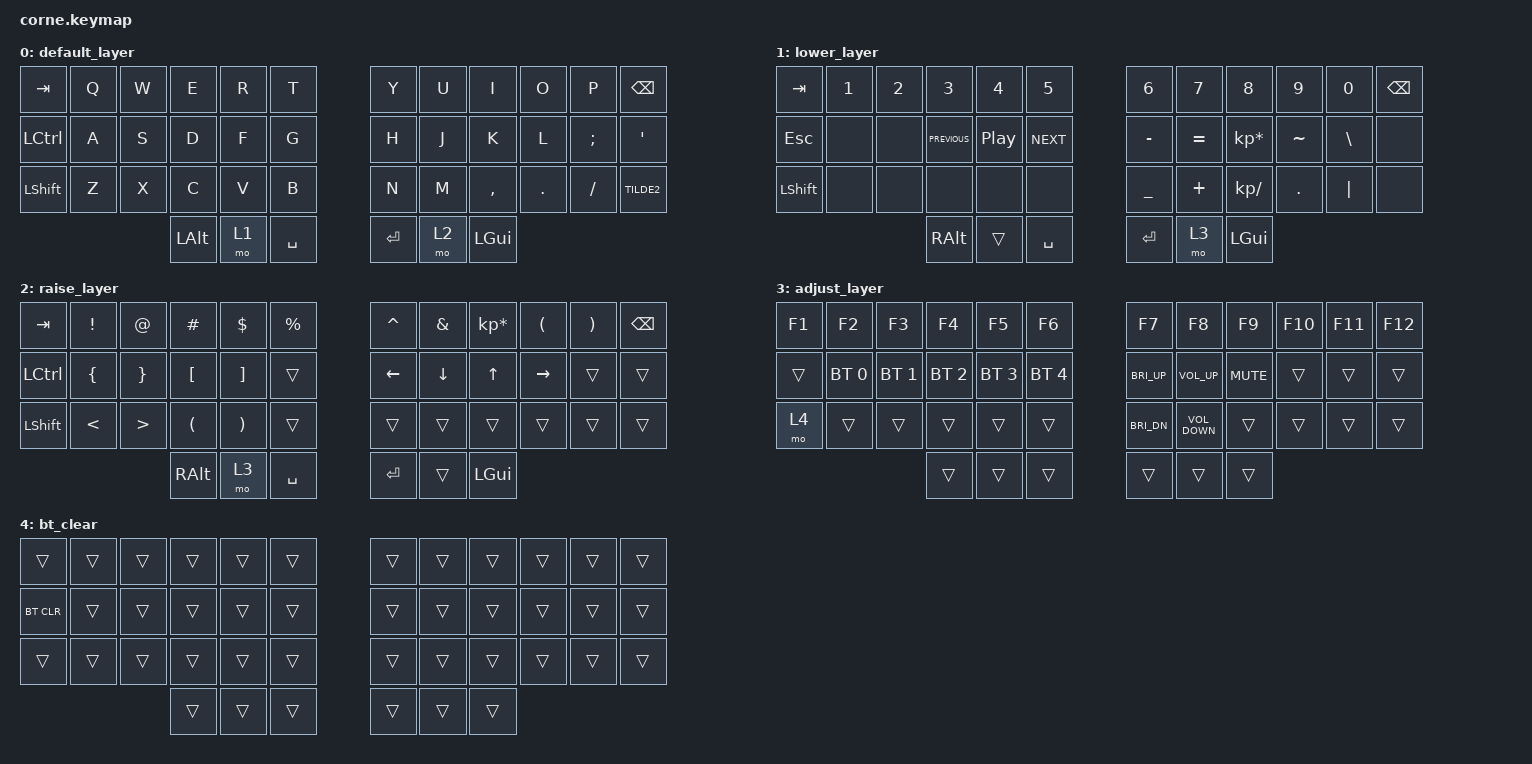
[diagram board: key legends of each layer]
/*
 * Copyright (c) 2020 The ZMK Contributors
 *
 * SPDX-License-Identifier: MIT
 */

#include <behaviors.dtsi>
#include <dt-bindings/zmk/bt.h>
#include <dt-bindings/zmk/keys.h>

/ {
    keymap {
        compatible = "zmk,keymap";

        default_layer {
            // -----------------------------------------------------------------------------------------
            // |  TAB |  Q  |  W  |  E  |  R  |  T  |   |  Y  |  U   |  I  |  O  |  P  | BKSP |
            // | CTRL |  A  |  S  |  D  |  F  |  G  |   |  H  |  J   |  K  |  L  |  ;  |  '   |
            // | SHFT |  Z  |  X  |  C  |  V  |  B  |   |  N  |  M   |  ,  |  .  |  /  | MSE |
            //                    | ALT | LWR | SPC |   | ENT | RSE  | GUI |

            bindings = <
&kp TAB    &kp Q  &kp W  &kp E         &kp R  &kp T      &kp Y    &kp U  &kp I      &kp O    &kp P     &kp BSPC
&kp LCTRL  &kp A  &kp S  &kp D         &kp F  &kp G      &kp H    &kp J  &kp K      &kp L    &kp SEMI  &kp SQT
&kp LSHFT  &kp Z  &kp X  &kp C         &kp V  &kp B      &kp N    &kp M  &kp COMMA  &kp DOT  &kp FSLH  &kp TILDE2
                         &kp LEFT_ALT  &mo 1  &kp SPACE  &kp RET  &mo 2  &kp LGUI
            >;
        };

        lower_layer {
            // -----------------------------------------------------------------------------------------
            // |  TAB |  1  |  2  |  3  |  4  |  5  |   |  6  |  7  |  8  |  9  |  0  | BKSP |
            // | ESC  |     |     |     |     |     |   | LFT | DWN |  UP | RGT |     |      |
            // | SHFT |     |     |     |     |     |   |     |     |     |     |     |      |
            //                    | ALT |     | SPC |   | ENT | ADJ | GUI |

            bindings = <
&kp TAB    &kp N1  &kp N2  &kp N3          &kp N4            &kp N5      &kp N6          &kp N7     &kp N8           &kp N9      &kp N0         &kp BSPC
&kp ESC    &none   &none   &kp C_PREVIOUS  &kp C_PLAY_PAUSE  &kp C_NEXT  &kp MINUS       &kp EQUAL  &kp KP_MULTIPLY  &kp TILDE   &kp BACKSLASH  &none
&kp LSHFT  &none   &none   &none           &none             &none       &kp UNDERSCORE  &kp PLUS   &kp KP_SLASH     &kp PERIOD  &kp PIPE       &none
                           &kp RALT        &trans            &kp SPACE   &kp RET         &mo 3      &kp LGUI
            >;
        };

        raise_layer {
            // -----------------------------------------------------------------------------------------
            // |  TAB |  !  |  @  |  #  |  $  |  %  |   |  ^  |  &  |  *  |  (  |  )  | BKSP |
            // | CTRL |     |     |     |     |     |   | LFT | DWN | UP  | RGT |  \  |  `   |
            // | SHFT |     |     |     |     |     |   |  _  |  +  |  {  |  }  | "|" |  ~   |
            //                    | ALT | ADJ | SPC |   | ENT |     | GUI |

            bindings = <
&kp TAB    &kp EXCL        &kp AT            &kp HASH          &kp DLLR           &kp PRCNT  &kp CARET  &kp AMPS  &kp KP_MULTIPLY  &kp LPAR   &kp RPAR  &kp BSPC
&kp LCTRL  &kp LEFT_BRACE  &kp RIGHT_BRACE   &kp LEFT_BRACKET  &kp RIGHT_BRACKET  &trans     &kp LEFT   &kp DOWN  &kp UP           &kp RIGHT  &trans    &trans
&kp LSHFT  &kp LESS_THAN   &kp GREATER_THAN  &kp LPAR          &kp RPAR           &trans     &trans     &trans    &trans           &trans     &trans    &trans
                                             &kp RALT          &mo 3              &kp SPACE  &kp RET    &trans    &kp LGUI
            >;
        };

        adjust_layer {
            bindings = <
&kp F1  &kp F2        &kp F3        &kp F4        &kp F5        &kp F6        &kp F7        &kp F8             &kp F9      &kp F10  &kp F11  &kp F12
&trans  &bt BT_SEL 0  &bt BT_SEL 1  &bt BT_SEL 2  &bt BT_SEL 3  &bt BT_SEL 4  &kp C_BRI_UP  &kp C_VOLUME_UP    &kp C_MUTE  &trans   &trans   &trans
&mo 4   &trans        &trans        &trans        &trans        &trans        &kp C_BRI_DN  &kp C_VOLUME_DOWN  &trans      &trans   &trans   &trans
                                    &trans        &trans        &trans        &trans        &trans             &trans
            >;
        };

        bt_clear {
            bindings = <
&trans      &trans  &trans  &trans  &trans  &trans  &trans  &trans  &trans  &trans  &trans  &trans
&bt BT_CLR  &trans  &trans  &trans  &trans  &trans  &trans  &trans  &trans  &trans  &trans  &trans
&trans      &trans  &trans  &trans  &trans  &trans  &trans  &trans  &trans  &trans  &trans  &trans
                            &trans  &trans  &trans  &trans  &trans  &trans
            >;
        };
    };
};
